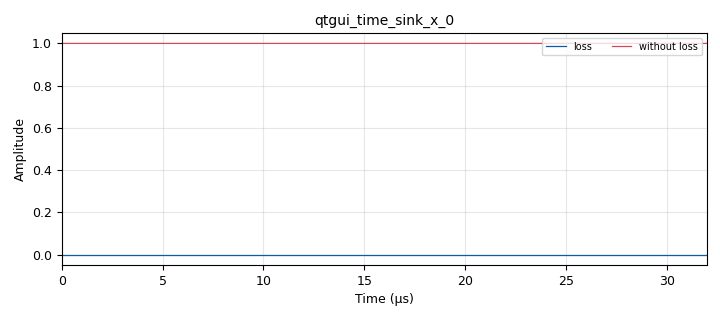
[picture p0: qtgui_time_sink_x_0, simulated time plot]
<?xml version='1.0' encoding='utf-8'?>
<?grc format='1' created='3.7.14'?>
<flow_graph>
<block>
<key>options</key>
<param><key>id</key><value>top_block</value></param>
<param><key>generate_options</key><value>qt_gui</value></param>
</block>
<block>
<key>variable_qtgui_range</key>
<param><key>id</key><value>d0</value></param>
<param><key>value</key><value>20</value></param>
<param><key>orient</key><value>Qt.Horizontal</value></param>
<param><key>start</key><value>0</value></param>
<param><key>step</key><value>10</value></param>
<param><key>stop</key><value>500</value></param>
</block>
<block>
<key>variable_qtgui_range</key>
<param><key>id</key><value>distance</value></param>
<param><key>value</key><value>10</value></param>
<param><key>orient</key><value>Qt.Horizontal</value></param>
<param><key>start</key><value>10</value></param>
<param><key>step</key><value>10</value></param>
<param><key>stop</key><value>15000</value></param>
</block>
<block>
<key>variable_qtgui_range</key>
<param><key>id</key><value>frequency</value></param>
<param><key>value</key><value>1000</value></param>
<param><key>orient</key><value>Qt.Horizontal</value></param>
<param><key>start</key><value>1000</value></param>
<param><key>step</key><value>1000</value></param>
<param><key>stop</key><value>900000000</value></param>
</block>
<block>
<key>variable_qtgui_range</key>
<param><key>id</key><value>gamma</value></param>
<param><key>value</key><value>1</value></param>
<param><key>orient</key><value>Qt.Horizontal</value></param>
<param><key>start</key><value>1</value></param>
<param><key>step</key><value>0.01</value></param>
<param><key>stop</key><value>10</value></param>
</block>
<block>
<key>variable</key>
<param><key>id</key><value>samp_rate</value></param>
<param><key>value</key><value>32000000</value></param>
</block>
<block>
<key>variable</key>
<param><key>id</key><value>wavelength</value></param>
<param><key>value</key><value>scipy.constants.c/frequency</value></param>
</block>
<block>
<key>analog_sig_source_x</key>
<param><key>id</key><value>analog_sig_source_x_0</value></param>
<param><key>amp</key><value>1</value></param>
<param><key>freq</key><value>frequency</value></param>
<param><key>offset</key><value>0</value></param>
<param><key>type</key><value>complex</value></param>
<param><key>samp_rate</key><value>samp_rate</value></param>
<param><key>waveform</key><value>analog.GR_COS_WAVE</value></param>
</block>
<block>
<key>blocks_complex_to_mag_squared</key>
<param><key>id</key><value>blocks_complex_to_mag_squared_0</value></param>
</block>
<block>
<key>blocks_complex_to_mag_squared</key>
<param><key>id</key><value>blocks_complex_to_mag_squared_1</value></param>
</block>
<block>
<key>epy_block</key>
<param><key>id</key><value>epy_block_1</value></param>
<param><key>_source_code</key><value>"""
Embedded Python Blocks:

Each time this file is saved, GRC will instantiate the first class it finds
to get ports and parameters of your block. The arguments to __init__  will
be the parameters. All of them are required to have default values!
"""

import numpy as np
import math
from gnuradio import gr


class blk(gr.sync_block):  # other base classes are basic_block, decim_block, interp_block
    """Embedded Python Block example - a simple multiply const"""

    def __init__(self,d0=20,d=1,gamma=0,wavelength=100):  # only default arguments here
        """arguments to this function show up as parameters in GRC"""
        gr.sync_block.__init__(
            self,
            name='Simplified Pass Loss',   # will show up in GRC
           in_sig=[np.complex64],
           out_sig=[np.complex64]
        )

        # if an attribute with the same name as a parameter is found,
        # a callback is registered (properties work, too).
	self.wavelength=wavelength
	self.d0=d0
	self.d=d
	self.gamma=gamma
	self.K=pow((wavelength/4*np.pi*d0),2)

    def work(self,output_items,input_items):
        """example: multiply with constant"""
	output_items[0][:] =np.square(abs(input_items[0]))*self.K*np.power((self.d0/self.d),self.gamma)
        return len(output_items[0])
</value></param>
<param><key>d</key><value>distance</value></param>
<param><key>d0</key><value>d0</value></param>
<param><key>gamma</key><value>gamma</value></param>
<param><key>wavelength</key><value>wavelength</value></param>
</block>
<block>
<key>import</key>
<param><key>id</key><value>import_0</value></param>
<param><key>import</key><value>import numpy</value></param>
</block>
<block>
<key>import</key>
<param><key>id</key><value>import_1</value></param>
<param><key>import</key><value>import scipy.constants</value></param>
</block>
<block>
<key>import</key>
<param><key>id</key><value>import_2</value></param>
<param><key>import</key><value>import math</value></param>
</block>
<block>
<key>qtgui_time_sink_x</key>
<param><key>id</key><value>qtgui_time_sink_x_0</value></param>
<param><key>autoscale</key><value>True</value></param>
<param><key>ctrlpanel</key><value>True</value></param>
<param><key>grid</key><value>True</value></param>
<param><key>color1</key><value>"black"</value></param>
<param><key>label1</key><value>loss</value></param>
<param><key>color2</key><value>"red"</value></param>
<param><key>label2</key><value>without loss</value></param>
<param><key>nconnections</key><value>2</value></param>
<param><key>size</key><value>1024</value></param>
<param><key>srate</key><value>samp_rate</value></param>
<param><key>type</key><value>float</value></param>
</block>
<connection><source_block_id>analog_sig_source_x_0</source_block_id><sink_block_id>blocks_complex_to_mag_squared_0</sink_block_id><source_key>0</source_key><sink_key>0</sink_key></connection>
<connection><source_block_id>analog_sig_source_x_0</source_block_id><sink_block_id>epy_block_1</sink_block_id><source_key>0</source_key><sink_key>0</sink_key></connection>
<connection><source_block_id>blocks_complex_to_mag_squared_0</source_block_id><sink_block_id>qtgui_time_sink_x_0</sink_block_id><source_key>0</source_key><sink_key>1</sink_key></connection>
<connection><source_block_id>blocks_complex_to_mag_squared_1</source_block_id><sink_block_id>qtgui_time_sink_x_0</sink_block_id><source_key>0</source_key><sink_key>0</sink_key></connection>
<connection><source_block_id>epy_block_1</source_block_id><sink_block_id>blocks_complex_to_mag_squared_1</sink_block_id><source_key>0</source_key><sink_key>0</sink_key></connection>
</flow_graph>
